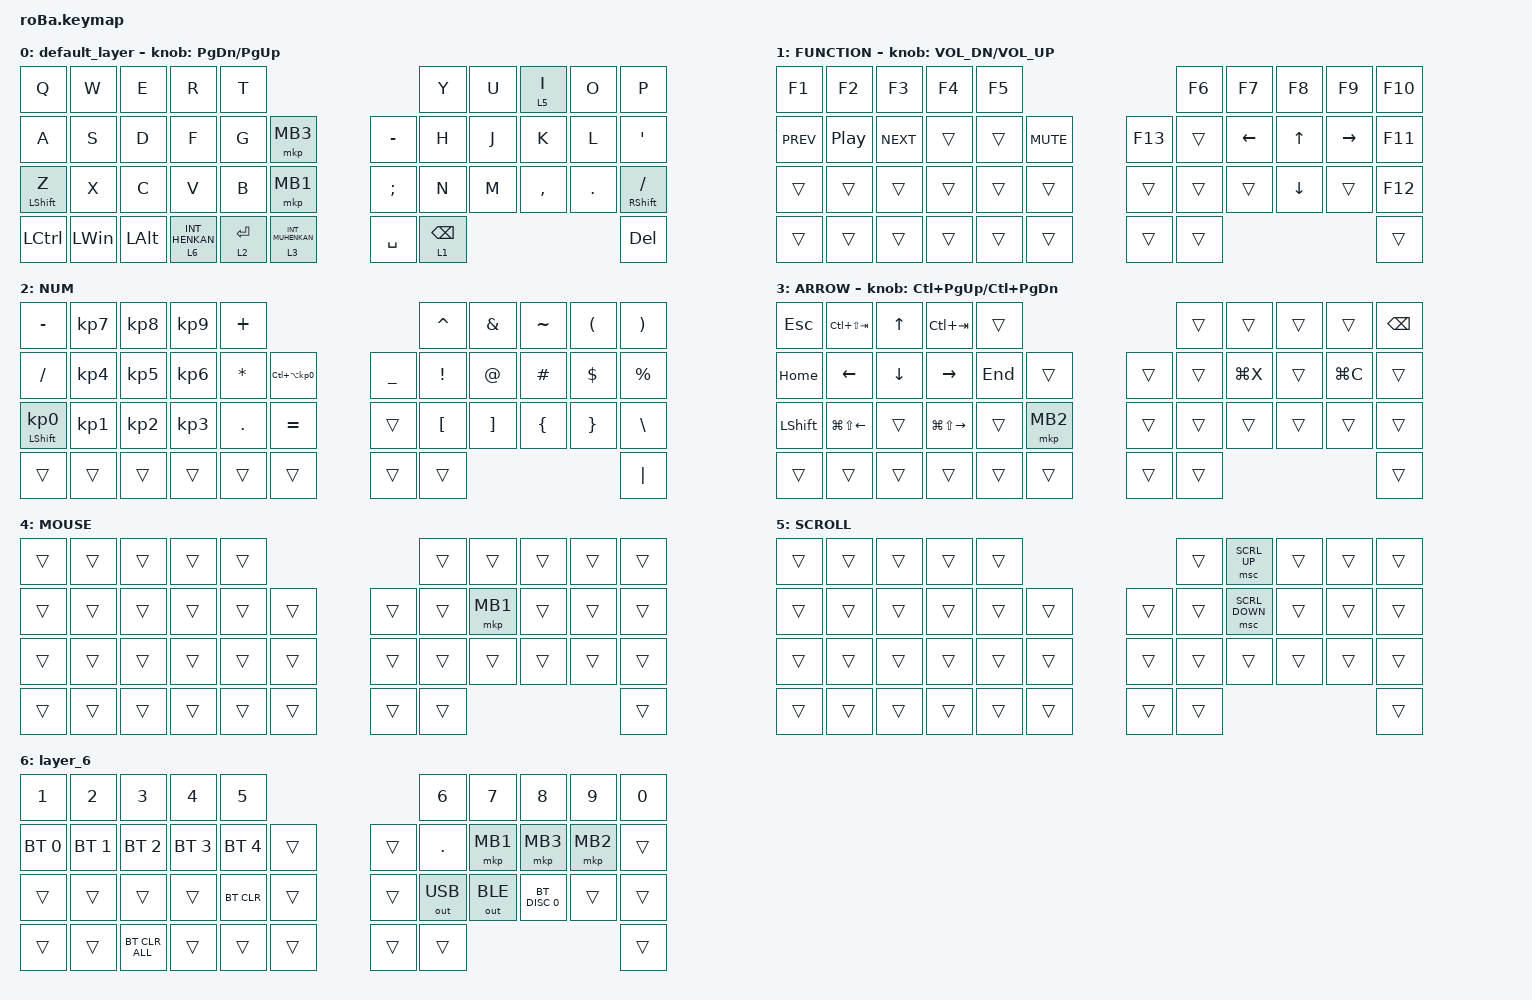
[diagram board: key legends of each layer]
#include <behaviors.dtsi>
#include <dt-bindings/zmk/bt.h>
#include <dt-bindings/zmk/keys.h>
#include <dt-bindings/zmk/pointing.h>
#include <dt-bindings/zmk/outputs.h>

&msc {
    time-to-max-speed-ms = <0>;
    acceleration-exponent = <0>;
};

&mt {
    flavor = "balanced";
    tapping-term-ms = <400>;
    quick-tap-ms = <200>;
};

&lt {
    tapping-term-ms = <400>;
    quick-tap-ms = <200>;
};

&trackball {
    automouse-layer = <4>;
    scroll-layers = <5>;

    // arrows {
    //     layers = <3>;
    //     bindings =
    //         <&kp RIGHT_ARROW>,
    //         <&kp LEFT_ARROW>,
    //         <&kp UP_ARROW>,
    //         <&kp DOWN_ARROW>;

    //     tick = <10>;
    //     wait-ms = <5>;
    //     tap-ms = <5>;
    // };
};

/ {
    combos {
        compatible = "zmk,combos";

        tab {
            bindings = <&kp TAB>;
            key-positions = <11 12>;
        };

        shift_tab {
            bindings = <&kp LS(TAB)>;
            key-positions = <12 13>;
        };

        muhennkann {
            bindings = <&to_layer_0 INT_MUHENKAN>;
            key-positions = <11 10>;
        };

        double_quotation {
            bindings = <&kp DOUBLE_QUOTES>;
            key-positions = <20 21>;
        };

        eq {
            bindings = <&kp EQUAL>;
            key-positions = <24 25>;
        };

        grave {
            bindings = <&kp GRAVE>;
            key-positions = <1 11>;
        };

        til {
            bindings = <&kp TILDE>;
            key-positions = <2 12>;
        };

        circ {
            bindings = <&kp CARET>;
            key-positions = <4 14>;
        };

        printscr {
            bindings = <&kp PRINTSCREEN>;
            key-positions = <3 13>;
        };

        bspc {
            bindings = <&kp BSPC>;
            key-positions = <8 9>;
        };

        question {
            bindings = <&kp QUESTION>;
            key-positions = <32 33>;
        };
    };

    macros {
        scrl_up: scrl_up {
            compatible = "zmk,behavior-macro";
            #binding-cells = <0>;
            bindings = <&macro_press &msc MOVE_Y(300)>
                     , <&macro_wait_time 20>
                     , <&macro_release &msc MOVE_Y(300)>;
        };

        scrl_dn: scrl_dn {
            compatible = "zmk,behavior-macro";
            #binding-cells = <0>;
            bindings = <&macro_press &msc MOVE_Y(-300)>
                     , <&macro_wait_time 20>
                     , <&macro_release &msc MOVE_Y(-300)>;
        };

        to_layer_0: to_layer_0 {
            compatible = "zmk,behavior-macro-one-param";
            #binding-cells = <1>;
            bindings = <&to 0 &macro_param_1to1 &kp MACRO_PLACEHOLDER>;
            label = "TO_LAYER_0";
        };
    };

    behaviors {
        rot_scrl: sensor_rotate_scrl {
            compatible = "zmk,behavior-sensor-rotate";
            #sensor-binding-cells = <0>;
            bindings = <&scrl_dn>, <&scrl_up>;
        };

        lt_to_layer_0: lt_to_layer_0 {
            compatible = "zmk,behavior-hold-tap";
            label = "LAYER_TAP_TO_0";
            bindings = <&mo>, <&to_layer_0>;

            #binding-cells = <2>;
            tapping-term-ms = <400>;
            quick-tap-ms = <200>;
        };
    };

    keymap {
        compatible = "zmk,keymap";

        default_layer {
            bindings = <
&kp Q             &kp W         &kp E         &kp R                        &kp T                                                          &kp Y        &kp U  &lt 5 I    &kp O    &kp P
&kp A             &kp S         &kp D         &kp F                        &kp G        &mkp MB3                           &kp MINUS      &kp H        &kp J  &kp K      &kp L    &kp SQT
&mt LEFT_SHIFT Z  &kp X         &kp C         &kp V                        &kp B        &mkp MB1                           &kp SEMICOLON  &kp N        &kp M  &kp COMMA  &kp DOT  &mt RIGHT_SHIFT SLASH
&kp LCTRL         &kp LEFT_WIN  &kp LEFT_ALT  &lt_to_layer_0 6 INT_HENKAN  &lt 2 ENTER  &lt_to_layer_0 3 INT_MUHENKAN      &kp SPACE      &lt 1 BSPC                              &kp DEL
            >;

            sensor-bindings = <&inc_dec_kp PAGE_DOWN PG_UP>;
        };

        FUNCTION {
            bindings = <
&kp F1  &kp F2  &kp F3  &kp F4  &kp F5                       &kp F6  &kp F7  &kp F8  &kp F9  &kp F10
&kp C_PREV  &kp C_PP  &kp C_NEXT  &trans  &trans  &kp C_MUTE      &kp F13  &trans  &kp LEFT  &kp UP  &kp RIGHT  &kp F11
&trans  &trans  &trans  &trans  &trans  &trans      &trans   &trans  &trans  &kp DOWN  &trans  &kp F12
&trans  &trans  &trans  &trans  &trans  &trans      &trans   &trans                          &trans
            >;

            sensor-bindings = <&inc_dec_kp C_VOL_DN C_VOL_UP>;
        };

        NUM {
            bindings = <
&kp MINUS                   &kp KP_NUMBER_7  &kp KP_NUMBER_8  &kp KP_NUMBER_9  &kp PLUS                                                   &kp CARET         &kp AMPERSAND      &kp TILDE       &kp LEFT_PARENTHESIS  &kp RIGHT_PARENTHESIS
&kp SLASH                   &kp KP_NUMBER_4  &kp KP_NUMBER_5  &kp KP_NUMBER_6  &kp ASTERISK  &kp LC(LA(KP_NUMBER_0))      &kp UNDERSCORE  &kp EXCLAMATION   &kp AT_SIGN        &kp HASH        &kp DOLLAR            &kp PERCENT
&mt LEFT_SHIFT KP_NUMBER_0  &kp KP_NUMBER_1  &kp KP_NUMBER_2  &kp KP_NUMBER_3  &kp PERIOD    &kp EQUAL                    &trans          &kp LEFT_BRACKET  &kp RIGHT_BRACKET  &kp LEFT_BRACE  &kp RIGHT_BRACE       &kp BACKSLASH
&trans                      &trans           &trans           &trans           &trans        &trans                       &trans          &trans                                                                     &kp PIPE
            >;
        };

        ARROW {
            bindings = <
&kp ESCAPE      &kp LC(LS(TAB))         &kp UP_ARROW    &kp LC(TAB)              &trans                       &trans  &trans  &trans  &trans  &kp BSPC
&kp HOME        &kp LEFT_ARROW          &kp DOWN_ARROW  &kp RIGHT_ARROW          &kp END  &trans      &trans  &trans  &kp LG(X)  &trans  &kp LG(C)  &trans
&kp LEFT_SHIFT  &kp LG(LS(LEFT_ARROW))  &trans          &kp LG(LS(RIGHT_ARROW))  &trans   &mkp MB2    &trans  &trans  &trans  &trans  &trans  &trans
&trans          &trans                  &trans          &trans                   &trans   &trans      &trans  &trans                          &trans
            >;

            sensor-bindings = <&inc_dec_kp LC(PAGE_UP) LC(PAGE_DOWN)>;
        };

        MOUSE {
            bindings = <
&trans  &trans  &trans  &trans  &trans                      &trans  &trans    &trans    &trans    &trans
&trans  &trans  &trans  &trans  &trans  &trans      &trans  &trans  &mkp MB1  &trans    &trans    &trans
&trans  &trans  &trans  &trans  &trans  &trans      &trans  &trans  &trans    &trans    &trans    &trans
&trans  &trans  &trans  &trans  &trans  &trans      &trans  &trans                                &trans
            >;
        };

        SCROLL {
            bindings = <
&trans  &trans  &trans  &trans  &trans                      &trans  &msc SCRL_UP    &trans  &trans  &trans
&trans  &trans  &trans  &trans  &trans  &trans      &trans  &trans  &msc SCRL_DOWN  &trans  &trans  &trans
&trans  &trans  &trans  &trans  &trans  &trans      &trans  &trans  &trans  &trans  &trans  &trans
&trans  &trans  &trans  &trans  &trans  &trans      &trans  &trans                          &trans
            >;
        };

        layer_6 {
            bindings = <
&kp NUMBER_1  &kp NUMBER_2  &kp NUMBER_3  &kp NUMBER_4  &kp NUMBER_5                     &kp NUMBER_6  &kp NUMBER_7  &kp NUMBER_8  &kp NUMBER_9  &kp NUMBER_0
&bt BT_SEL 0  &bt BT_SEL 1  &bt BT_SEL 2  &bt BT_SEL 3  &bt BT_SEL 4  &trans      &trans  &kp DOT  &mkp MB1  &mkp MB3  &mkp MB2  &trans
&trans        &trans        &trans        &trans        &bt BT_CLR    &trans      &trans  &out OUT_USB  &out OUT_BLE  &bt BT_DISC 0  &trans  &trans
&trans        &trans        &bt BT_CLR_ALL  &trans      &trans        &trans      &trans  &trans                                 &trans
            >;
        };
    };
};
